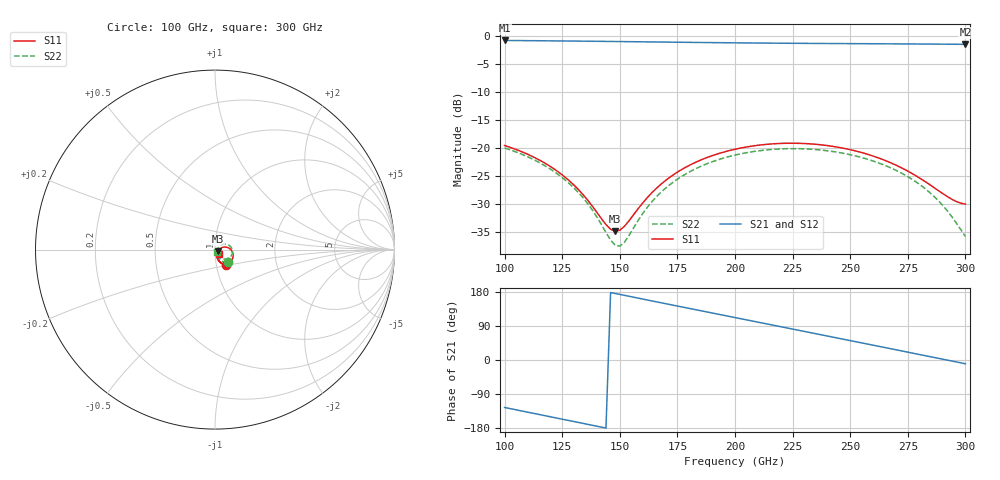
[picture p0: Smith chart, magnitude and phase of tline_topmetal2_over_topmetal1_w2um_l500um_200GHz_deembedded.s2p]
! Created with skrf 2.0.1 (http://scikit-rf.org).
# GHz S DB R 50.0
!freq dBS11 angS11 dBS21 angS21 dBS12 angS12 dBS22 angS22
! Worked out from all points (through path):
!   101 points, 100 GHz to 300 GHz, reference 50 ohm
!   highest |S21| = -0.81 dB at 100 GHz (marker M1); lowest = -1.5 dB at 300 GHz (marker M2)
!   group delay of S21, straight-line fit = 3.39 ps
!   lowest |S11| = -34.9 dB at 148 GHz (marker M3), VSWR 1.04, Z = 51.6 - j0.961 ohm
!   |S11| at or under -10 dB: start of sweep to end of sweep
!   |S22| runs from -37.5 to -20.0 dB; largest |S21 - S12| = 1.5e-15
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100  -19.57 -53.1  -0.81 -125.3  -0.81 -125.3  -20.00 -45.5
110  -21.12 -62.8  -0.85 -137.6  -0.85 -137.6  -21.58 -54.6
120  -23.34 -70.9  -0.89 -150.0  -0.89 -150.0  -23.81 -62.5
128  -25.83 -75.0  -0.92 -159.9  -0.92 -159.9  -26.32 -67.0
134  -28.31 -74.6  -0.94 -167.3  -0.94 -167.3  -28.87 -67.7
138  -30.35 -70.9  -0.96 -172.2  -0.96 -172.2  -31.03 -65.4
144  -33.68 -53.7  -0.98 -179.6  -0.98 -179.6  -35.09 -51.2
148  -34.88 -31.1  -1.00 175.5  -1.00 175.5  -37.37 -26.4
150  -34.68 -18.6  -1.01 173.0  -1.01 173.0  -37.53 -10.0
152  -33.99 -7.7  -1.02 170.6  -1.02 170.6  -36.83 5.1
160  -29.79 13.7  -1.06 160.8  -1.06 160.8  -31.68 32.8
168  -26.43 16.2  -1.10 151.0  -1.10 151.0  -27.86 35.9
182  -22.73 8.5  -1.16 133.9  -1.16 133.9  -23.89 28.4
200  -20.23 -7.6  -1.24 112.0  -1.24 112.0  -21.27 13.1
216  -19.28 -23.3  -1.29 92.6  -1.29 92.6  -20.27 -2.1
234  -19.31 -41.0  -1.34 70.7  -1.34 70.7  -20.25 -19.6
250  -20.30 -55.6  -1.38 51.2  -1.38 51.2  -21.21 -34.9
268  -22.72 -68.6  -1.42 29.2  -1.42 29.2  -23.63 -50.8
278  -24.84 -71.7  -1.44 17.0  -1.44 17.0  -25.90 -57.8
286  -26.96 -69.2  -1.46 7.2  -1.46 7.2  -28.50 -60.8
292  -28.63 -62.1  -1.48 -0.1  -1.48 -0.1  -31.15 -59.4
300  -30.03 -43.6  -1.51 -9.9  -1.51 -9.9  -35.80 -42.4
